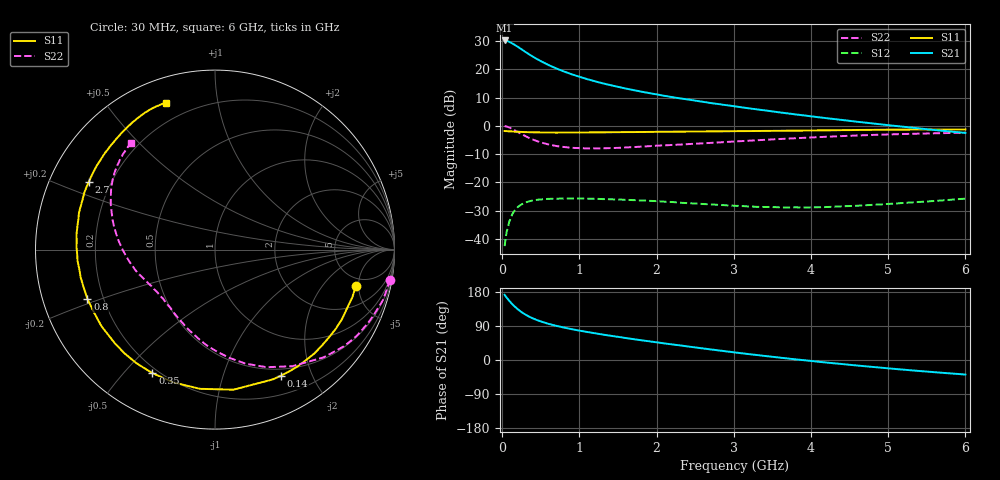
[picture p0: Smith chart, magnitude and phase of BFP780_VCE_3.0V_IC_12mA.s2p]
! Infineon Technologies  Discrete & RF Semiconductors
! BFP780
! VCE =  3.0 V,  IC =  12 mA
! Common Emitter S-Parameters:  Jul 2015
# GHz  S  MA  R  50
!  f  S11  S21  S12  S22
! GHz  MAG  ANG  MAG  ANG  MAG  ANG  MAG  ANG
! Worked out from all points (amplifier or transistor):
!   75 points, 30 MHz to 6 GHz, reference 50 ohm
!   highest |S21| = 30.3 dB at 30 MHz (marker M1)
!   |S21| within 3 dB of that: start of sweep to 241.6 MHz
!   unconditionally stable (mu >= 1): 2.569 GHz to end of sweep
!   at 150 MHz: K = 0.05, MSG = 29.6 dB, |S12| = -30.4 dB
!   at 2.3 GHz: K = 0.88, MSG = 18.5 dB, |S12| = -27.2 dB
!   at 6 GHz: K = 1.50, MAG = 7.5 dB, |S12| = -25.8 dB
!   S11 on the Smith chart (normalised r, x): 30 MHz: 3.88, -4.64; 140 MHz: 0.42, -1.57; 350 MHz: 0.18, -0.60; 800 MHz: 0.14, -0.18; 2.7 GHz: 0.12, +0.25; 6 GHz: 0.11, +0.72
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0.03  0.8111 -14.6  32.55 171.9  0.0074 82.5  0.9895 -9.8
0.05  0.8051 -24.1  32.31 166.2  0.0117 75.8  0.9785 -16.4
0.09  0.8005 -42.2  30.76 156.2  0.0202 66.9  0.9347 -28.4
0.12  0.7971 -54.6  29.28 149.4  0.0255 61.0  0.8966 -37.0
0.14  0.7929 -62.4  28.28 145.2  0.0288 58.1  0.8646 -42.3
0.2  0.7873 -82.5  25.13 134.1  0.0365 47.1  0.7798 -56.4
0.25  0.7802 -96.2  22.64 126.2  0.0407 40.3  0.7156 -66.3
0.3  0.7755 -107.5  20.37 119.8  0.044 34.6  0.6579 -75.0
0.35  0.7715 -116.9  18.41 114.2  0.0461 29.7  0.6081 -82.5
0.4  0.7696 -124.6  16.68 109.5  0.0481 26.0  0.569 -88.8
0.5  0.7641 -136.8  13.99 101.7  0.0498 19.8  0.5085 -99.8
0.6  0.7631 -146.0  11.95 95.4  0.051 15.1  0.468 -108.7
0.7  0.7599 -153.2  10.4 90.1  0.0513 11.7  0.4392 -116.1
0.8  0.762 -158.9  9.166 85.6  0.0515 8.8  0.4223 -122.2
1.1  0.7638 -171.9  6.715 73.9  0.0513 2.2  0.3981 -136.7
1.5  0.7723 176.4  4.905 61.1  0.0496 -3.5  0.4076 -149.8
2.1  0.786 163.0  3.406 43.8  0.0454 -8.8  0.4514 -163.7
2.7  0.7971 151.9  2.539 27.9  0.0406 -9.9  0.4993 -176.4
3.1  0.8073 144.9  2.129 17.8  0.038 -8.3  0.5373 175.2
4.1  0.8307 129.5  1.42 -4.7  0.0362 2.9  0.632 156.7
5.1  0.857 117.2  0.995 -23.8  0.0421 10.6  0.7108 141.1
6  0.8637 108.4  0.749 -38.4  0.0514 11.3  0.7571 128.1
